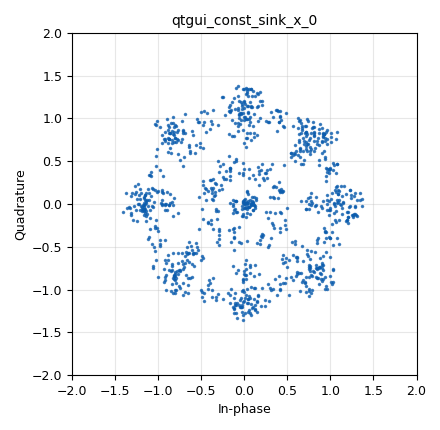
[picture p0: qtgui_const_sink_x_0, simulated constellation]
<?xml version='1.0' encoding='utf-8'?>
<?grc format='1' created='3.7.11'?>
<flow_graph>
<block>
<key>options</key>
<param><key>id</key><value>lab5_PDK_mod</value></param>
<param><key>generate_options</key><value>qt_gui</value></param>
</block>
<block>
<key>variable_qtgui_range</key>
<param><key>id</key><value>noise_amplitude</value></param>
<param><key>value</key><value>-100</value></param>
<param><key>_enabled</key><value>0</value></param>
<param><key>orient</key><value>Qt.Horizontal</value></param>
<param><key>start</key><value>-100</value></param>
<param><key>step</key><value>1</value></param>
<param><key>stop</key><value>0</value></param>
</block>
<block>
<key>variable</key>
<param><key>id</key><value>samp_rate</value></param>
<param><key>value</key><value>320000</value></param>
</block>
<block>
<key>analog_noise_source_x</key>
<param><key>id</key><value>analog_noise_source_x_0</value></param>
<param><key>amp</key><value>10**(noise_amplitude/10)</value></param>
<param><key>_enabled</key><value>0</value></param>
<param><key>noise_type</key><value>analog.GR_GAUSSIAN</value></param>
<param><key>type</key><value>complex</value></param>
<param><key>seed</key><value>12</value></param>
</block>
<block>
<key>analog_random_source_x</key>
<param><key>id</key><value>analog_random_source_x_0</value></param>
<param><key>max</key><value>256</value></param>
<param><key>min</key><value>0</value></param>
<param><key>num_samps</key><value>1000000</value></param>
<param><key>type</key><value>byte</value></param>
<param><key>repeat</key><value>True</value></param>
</block>
<block>
<key>blocks_add_xx</key>
<param><key>id</key><value>blocks_add_xx_0</value></param>
<param><key>_enabled</key><value>0</value></param>
<param><key>type</key><value>complex</value></param>
</block>
<block>
<key>blocks_throttle</key>
<param><key>id</key><value>blocks_throttle_0</value></param>
<param><key>samples_per_second</key><value>samp_rate</value></param>
<param><key>type</key><value>complex</value></param>
</block>
<block>
<key>digital_psk_mod</key>
<param><key>id</key><value>digital_psk_mod_0</value></param>
<param><key>differential</key><value>True</value></param>
<param><key>excess_bw</key><value>0.5</value></param>
<param><key>mod_code</key><value>"gray"</value></param>
<param><key>constellation_points</key><value>8</value></param>
<param><key>samples_per_symbol</key><value>2</value></param>
</block>
<block>
<key>qtgui_const_sink_x</key>
<param><key>id</key><value>qtgui_const_sink_x_0</value></param>
<param><key>size</key><value>1024</value></param>
<param><key>type</key><value>complex</value></param>
</block>
<connection><source_block_id>analog_noise_source_x_0</source_block_id><sink_block_id>blocks_add_xx_0</sink_block_id><source_key>0</source_key><sink_key>1</sink_key></connection>
<connection><source_block_id>analog_random_source_x_0</source_block_id><sink_block_id>digital_psk_mod_0</sink_block_id><source_key>0</source_key><sink_key>0</sink_key></connection>
<connection><source_block_id>blocks_add_xx_0</source_block_id><sink_block_id>blocks_throttle_0</sink_block_id><source_key>0</source_key><sink_key>0</sink_key></connection>
<connection><source_block_id>blocks_throttle_0</source_block_id><sink_block_id>qtgui_const_sink_x_0</sink_block_id><source_key>0</source_key><sink_key>0</sink_key></connection>
<connection><source_block_id>digital_psk_mod_0</source_block_id><sink_block_id>blocks_add_xx_0</sink_block_id><source_key>0</source_key><sink_key>0</sink_key></connection>
<connection><source_block_id>digital_psk_mod_0</source_block_id><sink_block_id>blocks_throttle_0</sink_block_id><source_key>0</source_key><sink_key>0</sink_key></connection>
</flow_graph>
